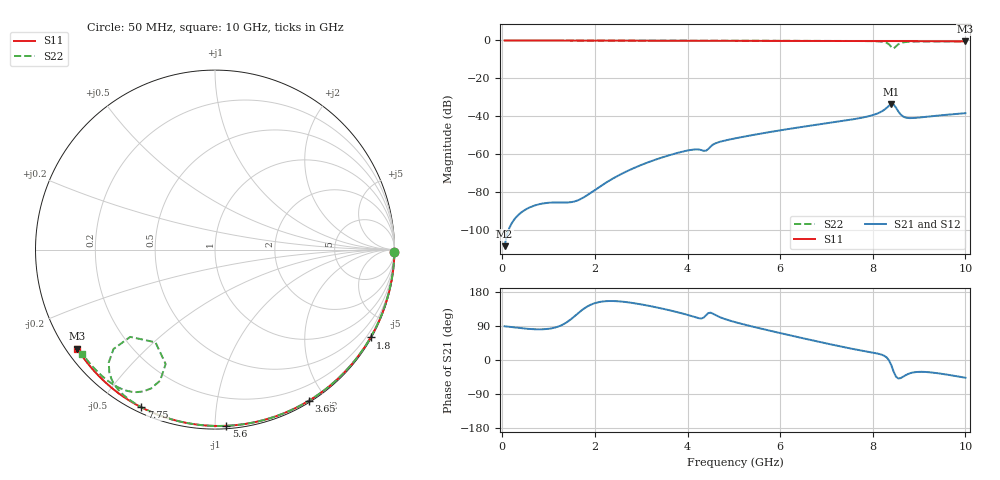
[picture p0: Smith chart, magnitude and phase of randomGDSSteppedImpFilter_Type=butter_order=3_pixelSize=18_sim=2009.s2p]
! freq	dB(S11)	phase(S11)	dB(S12)	phase(S12)
!  dB(S21)	phase(S21)	dB(S22)	phase(S22)
!S-par simulation data
#  GHz  S  DB  R 50
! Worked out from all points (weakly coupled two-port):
!   200 points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, 50 MHz to 10 GHz, reference 50 ohm
!   highest |S21| = -33.55 dB at 8.4 GHz (marker M1); lowest = -108.4 dB at 50 MHz (marker M2)
!   lowest |S11| = -0.5 dB at 10 GHz (marker M3), VSWR 35.53, Z = 1.55 - j16.1 ohm
!   |S11| at or under -10 dB: nowhere
!   |S22| runs from -4.2 to 0.0 dB; largest |S21 - S12| = 0
!   S11 on the Smith chart (normalised r, x): 50 MHz: open; 1.8 GHz: 0.03, -3.81; 3.65 GHz: 0.02, -1.80; 5.6 GHz: 0.02, -1.07; 7.75 GHz: 0.02, -0.64; 10 GHz: 0.03, -0.32
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0.05  -0.00 -0.8  -108.42 89.0  -108.42 89.0  -0.00 -0.8
1.75  -0.04 -28.6  -82.82 134.4  -82.82 134.4  -0.04 -28.6
1.8  -0.04 -29.4  -82.07 138.5  -82.07 138.5  -0.04 -29.4
1.95  -0.04 -31.8  -79.63 147.9  -79.63 147.9  -0.04 -31.8
2.6  -0.05 -42.1  -70.02 153.9  -70.02 153.9  -0.05 -42.1
3.4  -0.07 -54.4  -62.06 137.0  -62.06 137.0  -0.07 -54.4
3.65  -0.08 -58.2  -60.18 130.1  -60.18 130.1  -0.08 -58.1
4.15  -0.09 -65.6  -57.46 113.6  -57.46 113.6  -0.09 -65.6
4.4  -0.10 -69.3  -58.10 118.3  -58.10 118.3  -0.10 -69.2
4.6  -0.10 -72.2  -54.26 118.9  -54.26 118.9  -0.10 -72.1
5.05  -0.12 -78.6  -51.50 99.2  -51.50 99.2  -0.12 -78.6
5.6  -0.14 -86.3  -49.01 82.4  -49.01 82.4  -0.14 -86.4
6.7  -0.20 -101.3  -44.74 51.7  -44.74 51.7  -0.20 -101.8
7.75  -0.26 -115.0  -40.79 25.0  -40.79 25.0  -0.30 -117.4
8.15  -0.30 -120.2  -37.96 15.6  -37.96 15.6  -0.55 -126.6
8.35  -0.31 -122.8  -34.41 -0.8  -34.41 -0.8  -2.03 -135.6
8.4  -0.31 -123.5  -33.55 -13.6  -33.55 -13.6  -3.38 -134.2
8.45  -0.32 -124.1  -33.77 -30.5  -33.77 -30.5  -4.24 -122.7
8.5  -0.32 -124.8  -35.36 -43.8  -35.36 -43.8  -3.17 -113.3
8.6  -0.34 -126.0  -38.96 -47.8  -38.96 -47.8  -1.40 -114.7
8.75  -0.35 -128.0  -40.84 -37.6  -40.84 -37.6  -0.74 -120.4
10  -0.49 -144.3  -38.33 -46.9  -38.33 -46.9  -0.55 -141.8
